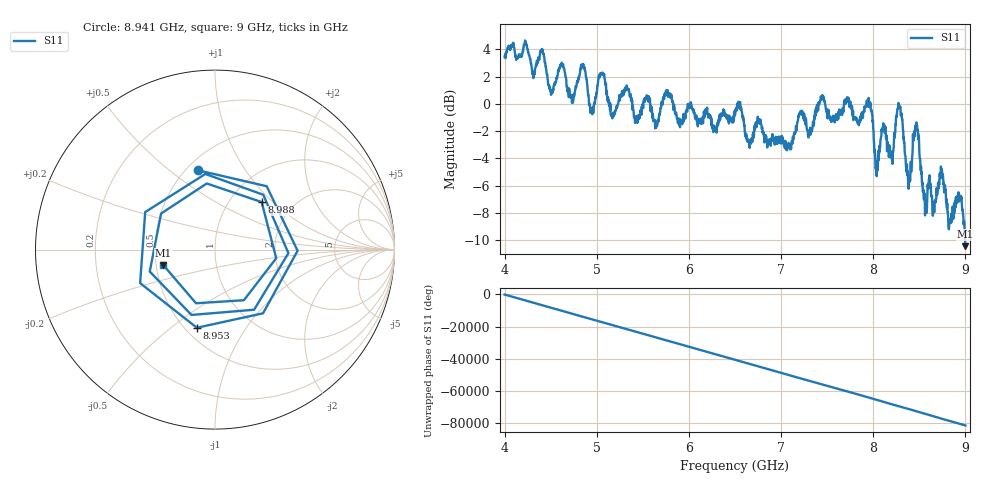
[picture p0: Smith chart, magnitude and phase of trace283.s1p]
! Created with skrf 1.8.0 (http://scikit-rf.org).
# Hz S RI R 50.0
!freq ReS11 ImS11
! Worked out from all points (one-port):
!   1601 points, 4 GHz to 9 GHz, reference 50 ohm
!   lowest |S11| = -10.4 dB at 9 GHz (marker M1), VSWR 1.86, Z = 27.3 - j5.17 ohm
!   |S11| at or under -10 dB: 8.997161 GHz to end of sweep
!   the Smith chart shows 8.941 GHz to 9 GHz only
!   S11 on the Smith chart (normalised r, x): 8.941 GHz: 0.57, +0.63; 8.953 GHz: 0.57, -0.62; 8.988 GHz: 1.40, +0.86; 9 GHz: 0.55, -0.10
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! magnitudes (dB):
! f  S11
! 4 GHz  3.5
! 4.406 GHz  4.0
! 4.506 GHz  0.7
! 4.625 GHz  2.7
! 4.734 GHz  0.3
! 4.853 GHz  2.9
! 4.941 GHz  -0.6
! 5.056 GHz  2.3
! 5.169 GHz  -1.1
! 5.25 GHz  0.6
! 5.875 GHz  -1.1
! 6.5 GHz  -0.8
! 7.125 GHz  -2.7
! 7.75 GHz  0.1
! 7.956 GHz  0.2
! 8.038 GHz  -5.3
! 8.109 GHz  -1.4
! 8.197 GHz  -3.8
! 8.288 GHz  -0.2
! 8.375 GHz  -4.9
! 8.469 GHz  -1.4
! 8.562 GHz  -8.2
! 8.738 GHz  -4.8
! 8.831 GHz  -8.6
! 8.941 GHz  -6.9
! 8.953 GHz  -7.0
! 8.988 GHz  -8.6
! 9 GHz  -10.4
